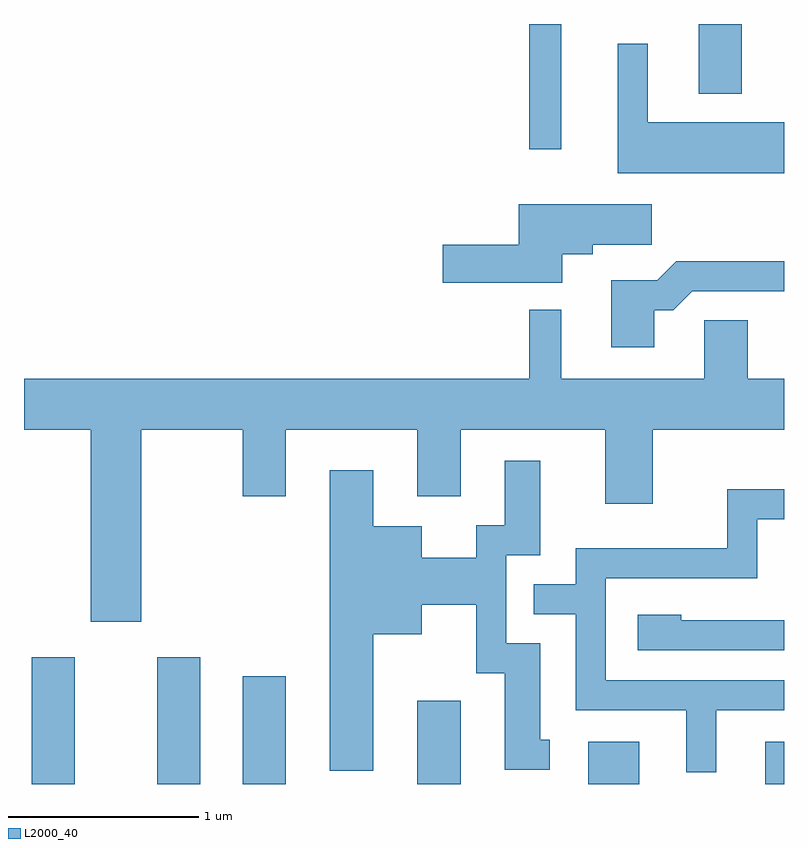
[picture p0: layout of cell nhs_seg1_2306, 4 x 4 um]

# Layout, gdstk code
import gdstk
lib = gdstk.Library(unit=1e-6, precision=1e-09)
def R(c, l, rs):  # rectangles x0, y0, x1, y1
    for r in rs: c.add(gdstk.rectangle(r[:2], r[2:], *l))
def P(c, l, *ps):  # polygons
    for p in ps: c.add(gdstk.Polygon(p, *l))
L2000_40 = (2000, 40)

nhs_seg1_2306 = lib.new_cell('nhs_seg1_2306')
R(nhs_seg1_2306, L2000_40, [(255.651,897.712,255.879,898.379), (256.311,897.712,256.539,898.379), (256.761,897.712,256.989,898.279), (257.681,897.712,257.909,898.149), (258.581,897.712,258.849,897.934), (259.511,897.712,259.611,897.934), (258.271,901.053,258.439,901.712), (259.161,901.346,259.389,901.712)])
P(nhs_seg1_2306, L2000_40, [(259.611,901.194),(258.894,901.194),(258.894,901.608),(258.736,901.608),(258.736,900.926),(259.611,900.926)],
  [(258.444,900.501),(258.604,900.501),(258.604,900.551),(258.914,900.551),(258.914,900.764),(258.216,900.764),(258.216,900.549),(257.816,900.549),(257.816,900.351),(258.444,900.351)],
  [(258.929,900.206),(259.027,900.206),(259.127,900.306),(259.611,900.306),(259.611,900.464),(259.044,900.464),(258.944,900.364),(258.701,900.364),(258.701,900.011),(258.929,900.011)],
  [(258.671,899.186),(258.919,899.186),(258.919,899.576),(259.611,899.576),(259.611,899.844),(259.419,899.844),(259.419,900.154),(259.191,900.154),(259.191,899.844),(258.439,899.844),(258.439,900.208),(258.271,900.208),(258.271,899.844),(255.611,899.844),(255.611,899.576),(255.961,899.576),(255.961,898.566),(256.229,898.566),(256.229,899.576),(256.761,899.576),(256.761,899.226),(256.989,899.226),(256.989,899.576),(257.681,899.576),(257.681,899.226),(257.909,899.226),(257.909,899.576),(258.671,899.576)],
  [(257.449,898.501),(257.704,898.501),(257.704,898.656),(257.991,898.656),(257.991,898.296),(258.141,898.296),(258.141,897.786),(258.378,897.786),(258.378,897.944),(258.329,897.944),(258.329,898.454),(258.149,898.454),(258.149,898.916),(258.329,898.916),(258.329,899.414),(258.141,899.414),(258.141,899.074),(257.991,899.074),(257.991,898.904),(257.704,898.904),(257.704,899.069),(257.449,899.069),(257.449,899.364),(257.221,899.364),(257.221,897.781),(257.449,897.781)],
  [(259.254,898.101),(259.611,898.101),(259.611,898.259),(258.674,898.259),(258.674,898.796),(259.469,898.796),(259.469,899.106),(259.611,899.106),(259.611,899.264),(259.311,899.264),(259.311,898.954),(258.516,898.954),(258.516,898.764),(258.293,898.764),(258.293,898.606),(258.516,898.606),(258.516,898.101),(259.096,898.101),(259.096,897.773),(259.254,897.773)],
  [(259.611,898.574),(259.069,898.574),(259.069,898.604),(258.841,898.604),(258.841,898.416),(259.611,898.416)])

lib.write_gds('nhs_seg1_2306.gds')
